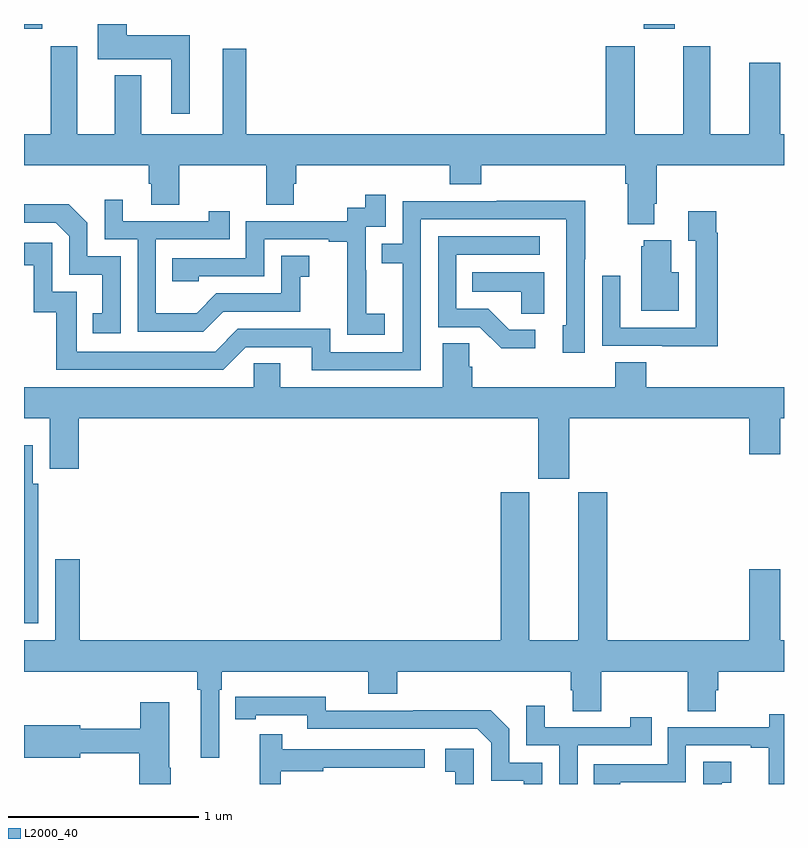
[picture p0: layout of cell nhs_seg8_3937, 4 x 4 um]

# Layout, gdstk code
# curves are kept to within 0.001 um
import gdstk
lib = gdstk.Library(unit=1e-6, precision=1e-09)
def R(c, l, rs):  # rectangles x0, y0, x1, y1
    for r in rs: c.add(gdstk.rectangle(r[:2], r[2:], *l))
def P(c, l, *ps):  # polygons
    for p in ps: c.add(gdstk.Polygon(p, *l))
L2000_40 = (2000, 40)

nhs_seg8_3937 = lib.new_cell('nhs_seg8_3937')
R(nhs_seg8_3937, L2000_40, [(353,1127.874,353.095,1127.9), (356.261,1127.874,356.425,1127.9)])
P(nhs_seg8_3937, L2000_40, [(353.872,1127.842),(353.542,1127.842),(353.542,1127.9),(353.389,1127.9),(353.389,1127.714),(353.774,1127.714),(353.774,1127.427),(353.872,1127.427)],
  [(356.317,1126.954),(356.33,1126.954),(356.33,1127.156),(357,1127.156),(357,1127.32),(356.98,1127.32),(356.98,1127.695),(356.816,1127.695),(356.816,1127.32),(356.611,1127.32),(356.611,1127.782),(356.471,1127.782),(356.471,1127.32),(356.215,1127.32),(356.215,1127.782),(356.063,1127.782),(356.063,1127.32),(354.169,1127.32),(354.169,1127.77),(354.047,1127.77),(354.047,1127.32),(353.617,1127.32),(353.617,1127.629),(353.477,1127.629),(353.477,1127.32),(353.281,1127.32),(353.281,1127.782),(353.141,1127.782),(353.141,1127.32),(353,1127.32),(353,1127.156),(353.657,1127.156),(353.657,1127.058),(353.669,1127.058),(353.669,1126.948),(353.817,1126.948),(353.817,1127.156),(354.274,1127.156),(354.274,1126.948),(354.421,1126.948),(354.421,1127.058),(354.434,1127.058),(354.434,1127.156),(355.241,1127.156),(355.241,1127.057),(355.406,1127.057),(355.406,1127.156),(356.165,1127.156),(356.165,1127.06),(356.177,1127.06),(356.177,1126.847),(356.317,1126.847)],
  [(354.898,1126.375),(354.8,1126.375),(354.8,1126.604),(354.798,1126.604),(354.798,1126.833),(354.903,1126.833),(354.903,1127.002),(354.795,1127.002),(354.795,1126.932),(354.702,1126.932),(354.702,1126.863),(354.168,1126.863),(354.168,1126.668),(353.779,1126.668),(353.779,1126.545),(353.919,1126.545),(353.919,1126.572),(354.264,1126.572),(354.264,1126.767),(354.605,1126.767),(354.605,1126.755),(354.701,1126.755),(354.701,1126.471),(354.7,1126.471),(354.7,1126.265),(354.898,1126.265)],
  [(354.049,1126.386),(354.453,1126.386),(354.453,1126.571),(354.502,1126.571),(354.502,1126.681),(354.354,1126.681),(354.354,1126.482),(354.012,1126.482),(353.908,1126.378),(353.694,1126.378),(353.694,1126.767),(354.083,1126.767),(354.083,1126.915),(353.972,1126.915),(353.972,1126.863),(353.521,1126.863),(353.521,1126.975),(353.424,1126.975),(353.424,1126.767),(353.598,1126.767),(353.598,1126.281),(353.944,1126.281)],
  [(355.089,1126.872),(355.854,1126.872),(355.854,1126.314),(355.835,1126.314),(355.835,1126.17),(355.95,1126.17),(355.95,1126.663),(355.953,1126.663),(355.953,1126.97),(355.489,1126.97),(355.489,1126.968),(354.993,1126.968),(354.993,1126.743),(354.883,1126.743),(354.883,1126.642),(354.993,1126.642),(354.993,1126.173),(354.612,1126.173),(354.612,1126.296),(354.126,1126.296),(354.006,1126.176),(353.277,1126.176),(353.277,1126.491),(353.148,1126.491),(353.148,1126.75),(353,1126.75),(353,1126.629),(353.051,1126.629),(353.051,1126.383),(353.169,1126.383),(353.169,1126.08),(354.048,1126.08),(354.168,1126.2),(354.515,1126.2),(354.515,1126.077),(355.089,1126.077)],
  [(353.508,1126.677),(353.334,1126.677),(353.334,1126.854),(353.236,1126.952),(353,1126.952),(353,1126.854),(353.166,1126.854),(353.238,1126.782),(353.238,1126.581),(353.411,1126.581),(353.411,1126.377),(353.362,1126.377),(353.362,1126.272),(353.508,1126.272)],
  [(356.651,1126.802),(356.644,1126.802),(356.644,1126.915),(356.495,1126.915),(356.495,1126.759),(356.535,1126.759),(356.535,1126.302),(356.139,1126.302),(356.139,1126.576),(356.043,1126.576),(356.043,1126.206),(356.359,1126.206),(356.359,1126.205),(356.651,1126.205)],
  [(355.69,1126.29),(355.555,1126.29),(355.444,1126.401),(355.275,1126.401),(355.275,1126.686),(355.714,1126.686),(355.714,1126.782),(355.179,1126.782),(355.179,1126.305),(355.398,1126.305),(355.511,1126.193),(355.69,1126.193)],
  [(356.446,1126.594),(356.407,1126.594),(356.407,1126.762),(356.261,1126.762),(356.261,1126.731),(356.249,1126.731),(356.249,1126.391),(356.446,1126.391)],
  [(355.738,1126.594),(355.36,1126.594),(355.36,1126.49),(355.617,1126.49),(355.617,1126.375),(355.738,1126.375)],
  [(355.87,1125.824),(356.816,1125.824),(356.816,1125.636),(356.98,1125.636),(356.98,1125.824),(357,1125.824),(357,1125.988),(356.276,1125.988),(356.276,1126.121),(356.111,1126.121),(356.111,1125.988),(355.358,1125.988),(355.358,1126.097),(355.344,1126.097),(355.344,1126.22),(355.205,1126.22),(355.205,1125.988),(354.349,1125.988),(354.349,1126.115),(354.21,1126.115),(354.21,1125.988),(353,1125.988),(353,1125.824),(353.135,1125.824),(353.135,1125.558),(353.288,1125.558),(353.288,1125.824),(355.706,1125.824),(355.706,1125.507),(355.87,1125.507)],
  [(353.074,1125.48),(353.047,1125.48),(353.047,1125.682),(353,1125.682),(353,1124.747),(353.074,1124.747)],
  [(353.294,1125.082),(353.165,1125.082),(353.165,1124.656),(353,1124.656),(353,1124.492),(353.911,1124.492),(353.911,1124.396),(353.93,1124.396),(353.93,1124.037),(354.027,1124.037),(354.027,1124.396),(354.041,1124.396),(354.041,1124.492),(354.812,1124.492),(354.812,1124.375),(354.965,1124.375),(354.965,1124.492),(355.877,1124.492),(355.877,1124.394),(355.889,1124.394),(355.889,1124.284),(356.037,1124.284),(356.037,1124.492),(356.494,1124.492),(356.494,1124.284),(356.641,1124.284),(356.641,1124.394),(356.654,1124.394),(356.654,1124.492),(357,1124.492),(357,1124.656),(356.98,1124.656),(356.98,1125.031),(356.816,1125.031),(356.816,1124.656),(356.069,1124.656),(356.069,1125.435),(355.916,1125.435),(355.916,1124.656),(355.66,1124.656),(355.66,1125.435),(355.508,1125.435),(355.508,1124.656),(353.294,1124.656)],
  [(355.728,1124.013),(355.554,1124.013),(355.554,1124.19),(355.456,1124.288),(355.048,1124.288),(355.048,1124.286),(354.588,1124.286),(354.588,1124.359),(354.112,1124.358),(354.112,1124.242),(354.22,1124.242),(354.22,1124.262),(354.492,1124.262),(354.492,1124.19),(355.386,1124.19),(355.458,1124.118),(355.458,1123.917),(355.631,1123.917),(355.631,1123.9),(355.728,1123.9)],
  [(353.772,1123.985),(353.764,1123.985),(353.764,1124.329),(353.611,1124.329),(353.611,1124.191),(353.296,1124.191),(353.296,1124.209),(353,1124.209),(353,1124.039),(353.296,1124.039),(353.296,1124.062),(353.606,1124.062),(353.606,1123.9),(353.772,1123.9)],
  [(355.914,1124.103),(356.303,1124.103),(356.303,1124.251),(356.192,1124.251),(356.192,1124.199),(355.741,1124.199),(355.741,1124.311),(355.644,1124.311),(355.644,1124.103),(355.818,1124.103),(355.818,1123.9),(355.914,1123.9)],
  [(356.139,1123.908),(356.484,1123.908),(356.484,1124.103),(356.825,1124.103),(356.825,1124.091),(356.921,1124.091),(356.921,1123.9),(357,1123.9),(357,1124.268),(356.922,1124.268),(356.922,1124.199),(356.388,1124.199),(356.388,1124.004),(355.999,1124.004),(355.999,1123.9),(356.139,1123.9)],
  [(354.352,1123.966),(354.575,1123.966),(354.575,1123.986),(355.108,1123.986),(355.108,1124.082),(354.359,1124.082),(354.359,1124.161),(354.242,1124.161),(354.242,1123.9),(354.352,1123.9)],
  [(355.368,1124.086),(355.218,1124.086),(355.218,1123.965),(355.271,1123.965),(355.271,1123.9),(355.368,1123.9)],
  [(356.673,1123.907),(356.722,1123.907),(356.722,1124.017),(356.574,1124.017),(356.574,1123.9),(356.673,1123.9)])

lib.write_gds('nhs_seg8_3937.gds')
